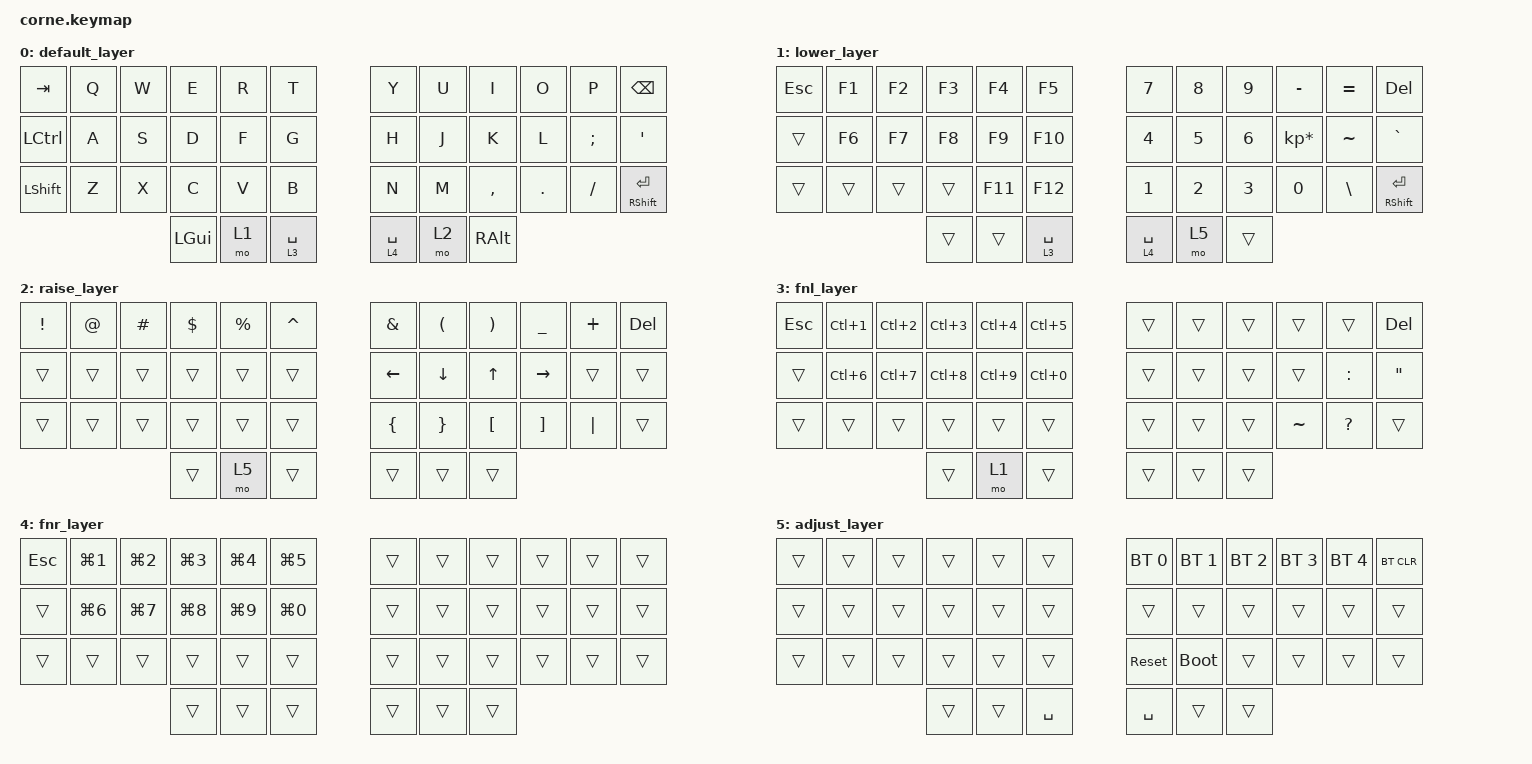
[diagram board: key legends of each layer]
/*
 * Copyright (c) 2020 The ZMK Contributors
 *
 * SPDX-License-Identifier: MIT
 */

#include <behaviors.dtsi>
#include <dt-bindings/zmk/keys.h>
#include <dt-bindings/zmk/bt.h>

/ {
        keymap {
                compatible = "zmk,keymap";

                default_layer {
                        bindings = <
  &kp TAB  &kp Q  &kp W     &kp E  &kp R        &kp T          &kp Y  &kp U      &kp I    &kp O     &kp P       &kp BSPC
&kp LCTRL  &kp A  &kp S     &kp D  &kp F        &kp G          &kp H  &kp J      &kp K    &kp L  &kp SEMI        &kp SQT
&kp LSHFT  &kp Z  &kp X     &kp C  &kp V        &kp B          &kp N  &kp M  &kp COMMA  &kp DOT  &kp FSLH  &mt RSHFT RET
                         &kp LGUI  &mo 1  &lt 3 SPACE    &lt 4 SPACE  &mo 2   &kp RALT
            >;
                };
                lower_layer {
                        bindings = <
&kp ESCAPE  &kp F1  &kp F2  &kp F3   &kp F4       &kp F5         &kp N7  &kp N8  &kp N9        &kp MINUS  &kp EQUAL        &kp DEL
    &trans  &kp F6  &kp F7  &kp F8   &kp F9      &kp F10         &kp N4  &kp N5  &kp N6  &kp KP_MULTIPLY  &kp TILDE      &kp GRAVE
    &trans  &trans  &trans  &trans  &kp F11      &kp F12         &kp N1  &kp N2  &kp N3           &kp N0   &kp BSLH  &mt RSHFT RET
                            &trans   &trans  &lt 3 SPACE    &lt 4 SPACE   &mo 5  &trans
            >;
                };

                raise_layer {
                        bindings = <
&kp EXCL  &kp AT  &kp HASH  &kp DLLR  &kp PRCNT  &kp CARET    &kp AMPS  &kp LPAR  &kp RPAR  &kp UNDER  &kp PLUS  &kp DEL
  &trans  &trans    &trans    &trans     &trans     &trans    &kp LEFT  &kp DOWN    &kp UP  &kp RIGHT    &trans   &trans
  &trans  &trans    &trans    &trans     &trans     &trans    &kp LBRC  &kp RBRC  &kp LBKT   &kp RBKT  &kp PIPE   &trans
                              &trans      &mo 5     &trans      &trans    &trans    &trans
            >;
                };

                fnl_layer {
                        bindings = <
&kp ESC  &kp LC(N1)  &kp LC(N2)  &kp LC(N3)  &kp LC(N4)  &kp LC(N5)    &trans  &trans  &trans     &trans     &trans  &kp DEL
 &trans  &kp LC(N6)  &kp LC(N7)  &kp LC(N8)  &kp LC(N9)  &kp LC(N0)    &trans  &trans  &trans     &trans  &kp COLON  &kp DQT
 &trans      &trans      &trans      &trans      &trans      &trans    &trans  &trans  &trans  &kp TILDE  &kp QMARK   &trans
                                     &trans       &mo 1      &trans    &trans  &trans  &trans
            >;
                };

                fnr_layer {
                        bindings = <
&kp ESC  &kp LG(N1)  &kp LG(N2)  &kp LG(N3)  &kp LG(N4)  &kp LG(N5)    &trans  &trans  &trans  &trans  &trans  &trans
 &trans  &kp LG(N6)  &kp LG(N7)  &kp LG(N8)  &kp LG(N9)  &kp LG(N0)    &trans  &trans  &trans  &trans  &trans  &trans
 &trans      &trans      &trans      &trans      &trans      &trans    &trans  &trans  &trans  &trans  &trans  &trans
                                     &trans      &trans      &trans    &trans  &trans  &trans
            >;
                };

                adjust_layer {
                        bindings = <
&trans  &trans  &trans  &trans  &trans     &trans    &bt BT_SEL 0  &bt BT_SEL 1  &bt BT_SEL 2  &bt BT_SEL 3  &bt BT_SEL 4    &bt BT_CLR
&trans  &trans  &trans  &trans  &trans     &trans          &trans        &trans        &trans        &trans        &trans        &trans
&trans  &trans  &trans  &trans  &trans     &trans      &sys_reset   &bootloader        &trans  &trans  &trans  &trans
                        &trans  &trans  &kp SPACE       &kp SPACE        &trans        &trans
            >;
                };

        };
};
